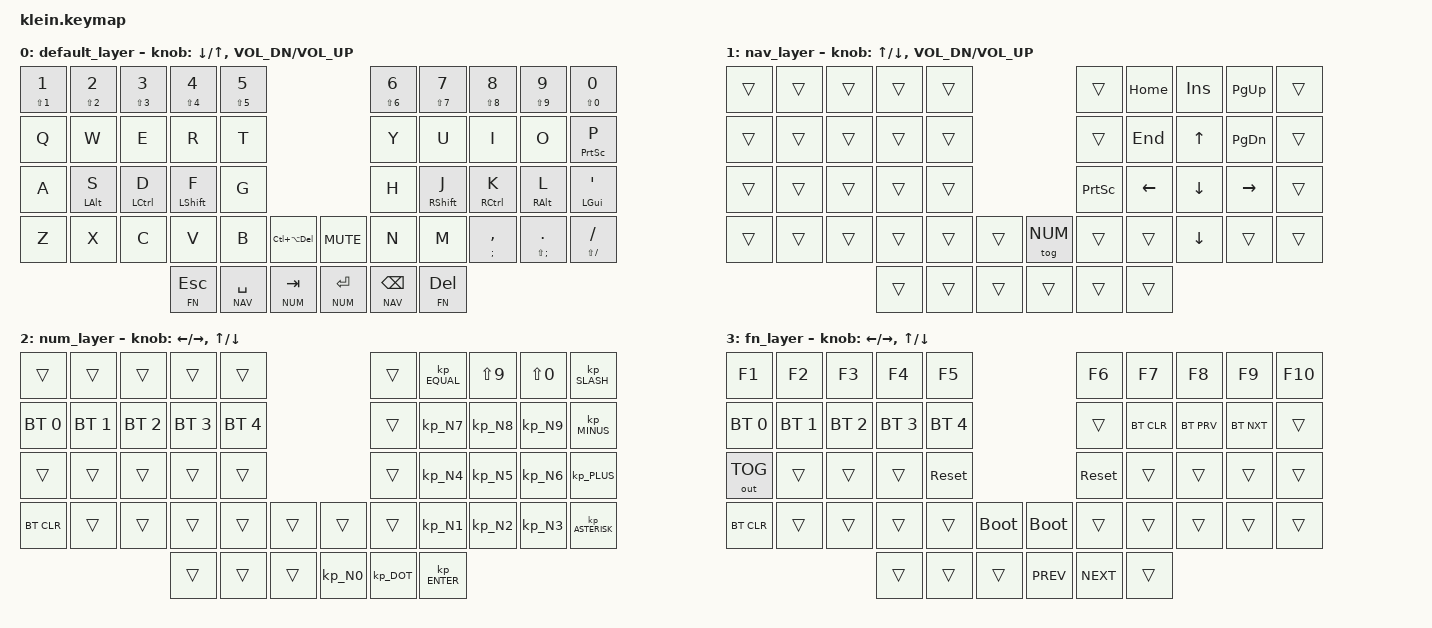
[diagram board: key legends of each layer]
 /*
  * Copyright (c) 2023 The ZMK Contributors
  *
  * SPDX-License-Identifier: MIT
  *
  */

#include <behaviors.dtsi>
#include <dt-bindings/zmk/bt.h>
#include <dt-bindings/zmk/keys.h>
#include <dt-bindings/zmk/outputs.h>

// #include <dt-bindings/zmk/dynamic-macros.h>

#define DEFAULT 0
#define NAV     1
#define FN      2
#define NUM     3

&mt {
    quick-tap-ms = <100>;
    global-quick-tap;
    flavor = "tap-preferred";
    tapping-term-ms = <180>;
};

/ {
    behaviors {
        pht: positional_hold_tap {
            compatible = "zmk,behavior-hold-tap";
            label = "POSITIONAL_HOLD_TAP";
            #binding-cells = <2>;
            flavor = "hold-preferred";
            tapping-term-ms = <400>;
            quick-tap-ms = <200>;
            bindings = <&kp>, <&kp>;

            hold-trigger-key-positions = <1>;    // <---[[the W key]]
        };
        gqt: global-quick-tap {
            compatible = "zmk,behavior-hold-tap";
            label = "GLOBAL_QUICK_TAP";
            #binding-cells = <2>;
            flavor = "tap-preferred";
            tapping-term-ms = <200>;
            quick-tap-ms = <125>;
            global-quick-tap;
            bindings = <&kp>, <&kp>;
        };
    };
};

&sk {
    release-after-ms = <2000>;
    quick-release;

    /delete-property/ ignore-modifiers;
};

/ {
    combos {
        compatible = "zmk,combos";

        combo_grave {
            bindings = <&kp GRAVE>;
            key-positions = <0 1>;
            layers = <0>;
        };

        combo_capslock {
            bindings = <&caps_word>;
            key-positions = <23 26>;
            layers = <0>;
        };

        combo_hyphen {
            bindings = <&kp MINUS>;
            key-positions = <8 9>;
            layers = <0>;
        };

        combo_equals {
            bindings = <&kp EQUAL>;
            key-positions = <18 19>;
            layers = <0>;
        };

        combo_backslash {
            bindings = <&kp BSLH>;
            key-positions = <38 39>;
            layers = <0>;
        };

        combo_rcd {
            bindings = <&rcd_macro>;
            key-positions = <12 13>;
            require-prior-idle-ms = <100>;
        };

        combo_rtc {
            bindings = <&rtc_macro>;
            key-positions = <13 14>;
            require-prior-idle-ms = <100>;
        };

        open_par {
            bindings = <&kp LEFT_PARENTHESIS>;
            key-positions = <43 44>;
            require-prior-idle-ms = <100>;
        };

        close_par {
            bindings = <&kp RIGHT_PARENTHESIS>;
            key-positions = <45 46>;
            require-prior-idle-ms = <100>;
        };

        open_brkt {
            bindings = <&kp LEFT_BRACKET>;
            key-positions = <42 43>;
            require-prior-idle-ms = <100>;
        };

        close_brkt {
            bindings = <&kp RIGHT_BRACKET>;
            key-positions = <46 47>;
            require-prior-idle-ms = <100>;
        };

        wes_combo {
            bindings = <&wes_macro>;
            key-positions = <11 12>;
            require-prior-idle-ms = <100>;
        };
        cdr_combo {
            bindings = <&cdr_macro>;
            key-positions = <32 33>;
            require-prior-idle-ms = <100>;
        };
    };
};

/ {
    macros {
        rcd_macro: rcd_macro {
            compatible = "zmk,behavior-macro";
            #binding-cells = <0>;
            bindings = <&kp R &kp I &kp T &kp C &kp H &kp I &kp E &kp UNDER &kp C &kp H &kp R &kp I &kp S &kp T &kp I &kp A &kp N &kp UNDER &kp D &kp AT &kp C &kp A &kp T &kp DOT &kp C &kp O &kp M>;
            label = "RCD_MACRO";
            wait-ms = <30>;
            tap-ms = <30>;
        };
        rtc_macro: rtc_macro {
            compatible = "zmk,behavior-macro";
            #binding-cells = <0>;
            bindings = <&kp R &kp I &kp T &kp C &kp H &kp C &kp D>;
            label = "RTC_MACRO";
            wait-ms = <30>;
            tap-ms = <30>;
        };
        wes_macro: wes_macro {
            compatible = "zmk,behavior-macro";
            #binding-cells = <0>;
            bindings = <&kp W &kp E &kp DOT &kp E &kp A &kp T &kp DOT &kp S &kp P &kp A &kp M &kp A &kp L &kp O &kp T &kp AT &kp G &kp M &kp A &kp I &kp L &kp DOT &kp C &kp O &kp M>;
            label = "WES_MACRO";
            wait-ms = <30>;
            tap-ms = <30>;
        };
        cdr_macro: cdr_macro {
            compatible = "zmk,behavior-macro";
            #binding-cells = <0>;
            bindings = <&kp C &kp H &kp R &kp I &kp S &kp T &kp I &kp A &kp N &kp DOT &kp D &kp DOT &kp R &kp I &kp T &kp C &kp H &kp I &kp E &kp AT &kp G &kp M &kp A &kp I &kp L &kp DOT &kp C &kp O &kp M>;
            label = "CDR_MACRO";
            wait-ms = <30>;
            tap-ms = <30>;
        };
    };

    keymap {
        compatible = "zmk,keymap";

        default_layer {
            // -------------------------------------------------------------------------------------------------
            // | 1     | 2    | 3    | 4   | 5   |                               | 6   | 7   | 8   | 9   | 0   |
            // | Q     | W    | E    | R   | T   |                               | Y   | U   | I   | O   | P   |
            // | A     | S    | D    | F   | G   |                               | H   | J   | K   | L   | ;   |
            // | Z     | X    | C    | V   | B   |  C/A/D  |            |  MUTE  | N   | M   | ,   | .   | /   |
            //                     | FN/ESC|NAV/SPACE|NUM/TAB|      |NUM/ENTER|NAV/BSPACE|FN/DEL |

            bindings = <
&gqt LS(N1) N1  &gqt LS(N2) N2  &gqt LS(N3) N3  &gqt LS(N4) N4  &gqt LS(N5) N5                                 &gqt LS(N6) N6  &gqt LS(N7) N7  &gqt LS(N8) N8   &gqt LS(N9) N9     &gqt LS(N0) N0
&kp Q           &kp W           &kp E           &kp R           &kp T                                          &kp Y           &kp U           &kp I            &kp O              &gqt PSCRN P
&kp A           &mt LALT S      &mt LCTRL D     &mt LSHFT F     &kp G                                          &kp H           &mt RSHFT J     &mt RCTRL K      &mt RALT L         &mt LGUI SQT
&kp Z           &kp X           &kp C           &kp V           &kp B           &kp LC(LA(DEL))   &kp C_MUTE   &kp N           &kp M           &gqt SEMI COMMA  &gqt LS(SEMI) DOT  &gqt LS(FSLH) FSLH
                                                &lt FN ESC      &lt NAV SPACE   &lt NUM TAB       &lt NUM RET  &lt NAV BSPC    &lt FN DEL
            >;

            sensor-bindings = <&inc_dec_kp DOWN UP &inc_dec_kp C_VOL_DN C_VOL_UP>;
        };

        nav_layer {
            // -------------------------------------------------------------------------------------------------
            // | none  | none  | none  | none  | none |                  | none  | HOME | INS  | PG_UP | none  | 
            // | none  | none  | none  | none  | none |                  | none  | END  | UP   | PG_DN | none  | 
            // | none  | none  | none  | none  | none |                  | PSCRN | LEFT | DOWN | RIGHT | none  | 
            // | none  | none  | none  | none  | none | trans |  | trans | none  | none | none | none  | none  | 
            //                         | trans | trans| trans |  | trans | trans | trans|      

            bindings = <
&trans  &trans  &trans  &trans  &trans                     &trans     &kp HOME  &kp INS   &kp PG_UP  &trans
&trans  &trans  &trans  &trans  &trans                     &trans     &kp END   &kp UP    &kp PG_DN  &trans
&trans  &trans  &trans  &trans  &trans                     &kp PSCRN  &kp LEFT  &kp DOWN  &kp RIGHT  &trans
&trans  &trans  &trans  &trans  &trans  &trans  &tog NUM   &trans     &trans    &kp DOWN  &trans     &trans
                        &trans  &trans  &trans  &trans     &trans     &trans
            >;

            sensor-bindings = <&inc_dec_kp UP DOWN &inc_dec_kp C_VOL_DN C_VOL_UP>;
        };

        num_layer {
            // -------------------------------------------------------------------------------------------------
            //  | none | none  | none  | none  | none |                  | (     | 	 =     | (   |   ) | /  | 
            //  | BT0  | BT1   | BT2   | BT3   | BT4  |                  |     ) |    7    | 8   | 9   | -  | 
            //  | none | none  | none  | none  | none |                  | none  |    4    | 5   | 6   | +  | 
            //  |BT_CLR| none  | none  | none  | none | trans |  | trans | none  |    1    | 2   | 3   | *  | 
            //                         | trans | trans| trans |  |    0  | .     | ENTER   | 

            bindings = <
&trans        &trans        &trans        &trans        &trans                                   &trans       &kp kp_EQUAL   &kp LS(N9)  &kp LS(N0)  &kp kp_SLASH
&bt BT_SEL 0  &bt BT_SEL 1  &bt BT_SEL 2  &bt BT_SEL 3  &bt BT_SEL 4                             &trans       &kp kp_N7      &kp kp_N8   &kp kp_N9   &kp kp_MINUS
&trans        &trans        &trans        &trans        &trans                                   &trans       &kp kp_N4      &kp kp_N5   &kp kp_N6   &kp kp_PLUS
&bt BT_CLR    &trans        &trans        &trans        &trans        &trans          &trans     &trans       &kp kp_N1      &kp kp_N2   &kp kp_N3   &kp kp_ASTERISK
                                          &trans        &trans        &trans          &kp kp_N0  &kp kp_DOT   &kp kp_ENTER
            >;

            sensor-bindings = <&inc_dec_kp LEFT RIGHT &inc_dec_kp UP DOWN >;
        };

        fn_layer {
            // ---------------------------------------------------------------------------------------------------------------------
            // | F1     | F2      | F3      | F4      | F5       |                      | F6    | F7     | F8     | F9      | F10  |
            // |BT_SEL 0| BT_SEL 1| BT_SEL 2| BT_SEL 3| BT_SEL 4 |                      | none  | BT_CLR | BT_PRV | BT_NXT  | none |
            // | OUT_TOG|    (    |    )    | none    | reset    |                      | reset | none   | none   | none    | none |
            // |BT_CLR  |    [    |    ]    | none    | trans    |bootloader||bootloader| none  | none   | none   | none    | MacroCORD? |
            //                              | trans   | trans    |   trans  ||  trans   | trans | trans  | 

            bindings = <
&kp F1        &kp F2        &kp F3        &kp F4        &kp F5                                    &kp F6      &kp F7      &kp F8      &kp F9      &kp F10
&bt BT_SEL 0  &bt BT_SEL 1  &bt BT_SEL 2  &bt BT_SEL 3  &bt BT_SEL 4                              &trans      &bt BT_CLR  &bt BT_PRV  &bt BT_NXT  &trans
&out OUT_TOG  &trans        &trans        &trans        &sys_reset                                &sys_reset  &trans      &trans      &trans      &trans
&bt BT_CLR    &trans        &trans        &trans        &trans        &bootloader   &bootloader   &trans      &trans      &trans      &trans      &trans
                                          &trans        &trans        &trans        &kp C_PREV    &kp C_NEXT  &trans
            >;

            sensor-bindings = <&inc_dec_kp LEFT RIGHT &inc_dec_kp UP DOWN>;
        };
    };
};
// disable qspi flash for more power saving
&qspi { 
      status = "disabled"; 
      };
